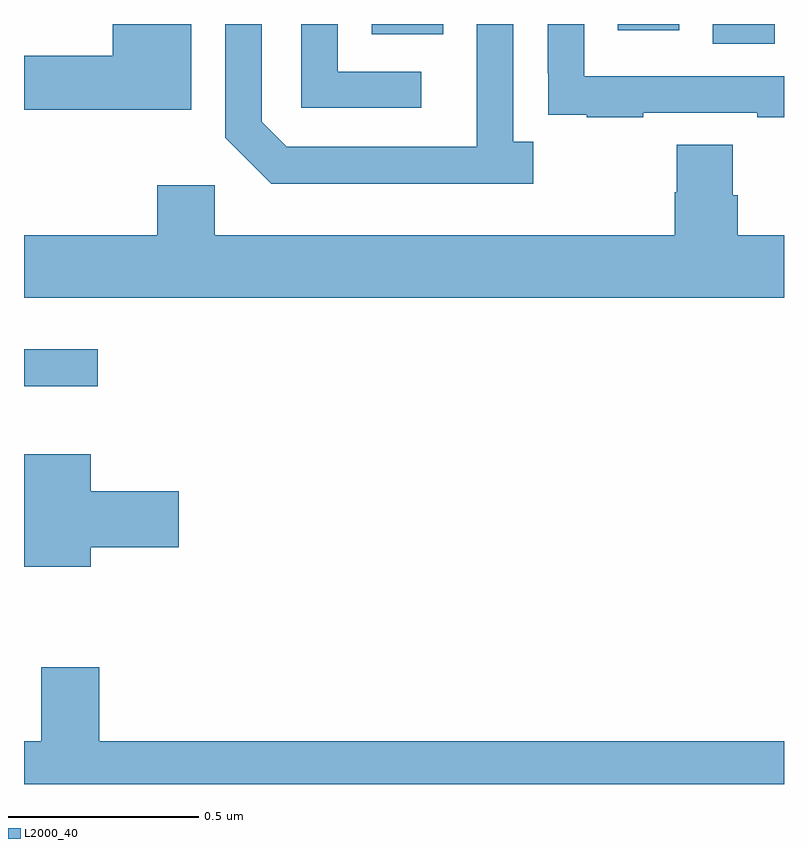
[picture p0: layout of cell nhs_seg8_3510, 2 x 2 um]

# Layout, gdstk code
import gdstk
lib = gdstk.Library(unit=1e-6, precision=1e-09)
def R(c, l, rs):  # rectangles x0, y0, x1, y1
    for r in rs: c.add(gdstk.rectangle(r[:2], r[2:], *l))
def P(c, l, *ps):  # polygons
    for p in ps: c.add(gdstk.Polygon(p, *l))
L2000_40 = (2000, 40)

nhs_seg8_3510 = lib.new_cell('nhs_seg8_3510')
R(nhs_seg8_3510, L2000_40, [(158,1102.947,158.194,1103.044), (159.812,1103.848,159.976,1103.9), (158.915,1103.873,159.103,1103.9), (159.563,1103.883,159.724,1103.9)])
P(nhs_seg8_3510, L2000_40, [(159.629,1103.667),(159.929,1103.667),(159.929,1103.655),(160,1103.655),(160,1103.763),(159.474,1103.763),(159.474,1103.9),(159.378,1103.9),(159.378,1103.77),(159.379,1103.77),(159.379,1103.661),(159.481,1103.661),(159.481,1103.655),(159.629,1103.655)],
  [(159.046,1103.775),(158.826,1103.775),(158.826,1103.9),(158.73,1103.9),(158.73,1103.679),(159.046,1103.679)],
  [(159.34,1103.59),(159.288,1103.59),(159.288,1103.9),(159.192,1103.9),(159.192,1103.777),(159.191,1103.777),(159.191,1103.577),(158.691,1103.577),(158.625,1103.643),(158.625,1103.9),(158.529,1103.9),(158.529,1103.601),(158.65,1103.48),(159.34,1103.48)],
  [(158.44,1103.9),(158.233,1103.9),(158.233,1103.816),(158,1103.816),(158,1103.674),(158.44,1103.674)],
  [(160,1103.344),(159.878,1103.344),(159.878,1103.45),(159.865,1103.45),(159.865,1103.582),(159.718,1103.582),(159.718,1103.457),(159.713,1103.457),(159.713,1103.344),(158.502,1103.344),(158.502,1103.476),(158.351,1103.476),(158.351,1103.344),(158,1103.344),(158,1103.18),(160,1103.18)],
  [(158.176,1102.523),(158.407,1102.523),(158.407,1102.67),(158.176,1102.67),(158.176,1102.768),(158,1102.768),(158,1102.472),(158.176,1102.472)],
  [(160,1102.012),(158.198,1102.012),(158.198,1102.207),(158.045,1102.207),(158.045,1102.012),(158,1102.012),(158,1101.9),(160,1101.9)])

lib.write_gds('nhs_seg8_3510.gds')
